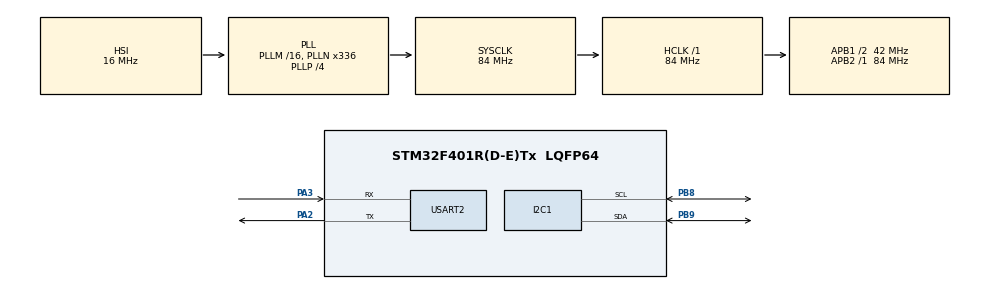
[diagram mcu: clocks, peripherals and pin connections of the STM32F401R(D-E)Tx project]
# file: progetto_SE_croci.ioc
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Mcu.Family=STM32F4
Mcu.Name=STM32F401R(D-E)Tx
Mcu.Package=LQFP64
NVIC.PriorityGroup=NVIC_PRIORITYGROUP_4
NVIC.USART2_IRQn=true\:0\:0\:false\:false\:true\:true\:true\:true
PA13.Mode=Serial_Wire
PA13.Signal=SYS_JTMS-SWDIO
PA14.Mode=Serial_Wire
PA14.Signal=SYS_JTCK-SWCLK
PA2.Mode=Asynchronous
PA2.Signal=USART2_TX
PA3.Mode=Asynchronous
PA3.Signal=USART2_RX
PB8.Mode=I2C
PB8.Signal=I2C1_SCL
PB9.Mode=I2C
PB9.Signal=I2C1_SDA
PC14-OSC32_IN.Mode=LSE-External-Oscillator
PC14-OSC32_IN.Signal=RCC_OSC32_IN
PC15-OSC32_OUT.Mode=LSE-External-Oscillator
PC15-OSC32_OUT.Signal=RCC_OSC32_OUT
PH0\ -\ OSC_IN.Mode=HSE-External-Clock-Source
PH0\ -\ OSC_IN.Signal=RCC_OSC_IN
PH1\ -\ OSC_OUT.Mode=HSE-External-Clock-Source
PH1\ -\ OSC_OUT.Signal=RCC_OSC_OUT
ProjectManager.HeapSize=0x800
ProjectManager.StackSize=0x800
ProjectManager.TargetToolchain=STM32CubeIDE
RCC.48MHZClocksFreq_Value=84000000
RCC.AHBFreq_Value=84000000
RCC.APB1CLKDivider=RCC_HCLK_DIV2
RCC.APB1Freq_Value=42000000
RCC.APB1TimFreq_Value=84000000
RCC.APB2Freq_Value=84000000
RCC.APB2TimFreq_Value=84000000
RCC.CortexFreq_Value=84000000
RCC.HCLKFreq_Value=84000000
RCC.HSE_VALUE=25000000
RCC.HSI_VALUE=16000000
RCC.PLLN=336
RCC.PLLP=RCC_PLLP_DIV4
RCC.SYSCLKFreq_VALUE=84000000
RCC.SYSCLKSource=RCC_SYSCLKSOURCE_PLLCLK
RCC.VCOOutputFreq_Value=336000000
USART2.VirtualMode=VM_ASYNC
board=custom

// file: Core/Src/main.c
/* USER CODE BEGIN Header */
/**
  ******************************************************************************
  * @file           : main.c
  * @brief          : Main program body
  ******************************************************************************
  * @attention
  *
  * Copyright (c) 2025 STMicroelectronics.
  * All rights reserved.
  *
  * This software is licensed under terms that can be found in the LICENSE file
  * in the root directory of this software component.
  * If no LICENSE file comes with this software, it is provided AS-IS.
  *
  ******************************************************************************
  */
/* USER CODE END Header */
#include "main.h"
#include "i2c.h"
#include "usart.h"
#include "gpio.h"

/* USER CODE BEGIN Includes */
#include <stdio.h>
#include <string.h>
#include "lsm6dsox_reg.h"
#include "model.h"
/* USER CODE END Includes */

/* USER CODE BEGIN PD */
#define LSM6DSOX_I2C_ADDR8    (0x6B << 1)

#define PI 	3.14159265358979323846		// Costante pi greco
#define G 	9.80665						// Accelerazione di gravità

/* USER CODE END PD */

/* USER CODE BEGIN PV */

// Output
extern uint8_t predicted_class;
extern uint8_t confidence;

// Media e deviazione standard per ogni feature
const float mean[6] = {-0.3109933f, -0.21435975f, 4.9039526f, 0.12456421f, 0.06937116f, -0.03399972f};
const float std[6]  = {84.00599f, 140.4055f, 224.9723f, 18.348589f, 17.98235f, 16.988403f};

static char tx_line[64];
static stmdev_ctx_t dev_ctx;

float input_buffer[100][6];    	// Buffer per 2s di dati
uint8_t sample_index = 0;    	// Contatore di campioni

// Funzioni platform per driver ST
static int32_t platform_write(void *handle, uint8_t reg,
                              const uint8_t *bufp, uint16_t len)
{
    return (HAL_I2C_Mem_Write((I2C_HandleTypeDef*)handle,
                              LSM6DSOX_I2C_ADDR8, reg,
                              I2C_MEMADD_SIZE_8BIT,
                              (uint8_t*)bufp, len, 1000) == HAL_OK) ? 0 : 1;
}

static int32_t platform_read(void *handle, uint8_t reg,
                             uint8_t *bufp, uint16_t len)
{
    return (HAL_I2C_Mem_Read((I2C_HandleTypeDef*)handle,
                             LSM6DSOX_I2C_ADDR8, reg,
                             I2C_MEMADD_SIZE_8BIT,
                             bufp, len, 1000) == HAL_OK) ? 0 : 1;
}

static void platform_delay(uint32_t ms) { HAL_Delay(ms); }
/* USER CODE END PV */

void SystemClock_Config(void);
/* USER CODE BEGIN PFP */

// Funzione di conversione da dps a rad/sec
float conv_dps2rad (float in_dps) {
	float out_rad = in_dps * PI / 180;
	return out_rad;
}

// Funzione di conversione da g a m/s^2
float conv_g2ms2 (float in_g) {
	float out_ms2 = in_g * G;
	return out_ms2;
}

/* USER CODE END PFP */

int main(void)
{

  /* MCU Configuration--------------------------------------------------------*/

  /* Reset of all peripherals, Initializes the Flash interface and the Systick. */
  HAL_Init();

  /* Configure the system clock */
  SystemClock_Config();

  /* Initialize all configured peripherals */
  MX_GPIO_Init();
  MX_I2C1_Init();
  MX_USART2_UART_Init();
  /* USER CODE BEGIN 2 */
  dev_ctx.write_reg = platform_write;
  dev_ctx.read_reg  = platform_read;
  dev_ctx.handle    = &hi2c1;

  platform_delay(100);

  // WHO AM I
  uint8_t who_am_i = 0;
  int32_t status = lsm6dsox_device_id_get(&dev_ctx, &who_am_i);
  snprintf(tx_line, sizeof(tx_line), "WHO_AM_I letto: 0x%02X, status: %ld\r\n", who_am_i, status);
  HAL_UART_Transmit(&huart2, (uint8_t*)tx_line, strlen(tx_line), HAL_MAX_DELAY);

  // Sensor reset
  lsm6dsox_reset_set(&dev_ctx, PROPERTY_ENABLE);
  uint8_t rst;
  do { lsm6dsox_reset_get(&dev_ctx, &rst); } while (rst);

  // Configuration
  lsm6dsox_i3c_disable_set(&dev_ctx, LSM6DSOX_I3C_DISABLE);
  lsm6dsox_block_data_update_set(&dev_ctx, PROPERTY_ENABLE);

  // ODR 52 Hz
  lsm6dsox_xl_data_rate_set(&dev_ctx, LSM6DSOX_XL_ODR_52Hz);
  lsm6dsox_gy_data_rate_set(&dev_ctx, LSM6DSOX_GY_ODR_52Hz);

  // Full scale ±8 g and ±2000 dps
  lsm6dsox_xl_full_scale_set(&dev_ctx, LSM6DSOX_8g);
  lsm6dsox_gy_full_scale_set(&dev_ctx, LSM6DSOX_2000dps);

  // Data buffers
  int16_t acc_raw[3], gyr_raw[3];
  float   acc_mg[3],  gyr_mdps[3];
  uint32_t t_prev = HAL_GetTick();

  /* USER CODE END 2 */

  /* Infinite loop */
  while (1)
  {

	      /* USER CODE BEGIN 3 */

			// Wait 20 ms for 50 Hz sampling
	  while ((HAL_GetTick() - t_prev) < 20) {}
	  t_prev = HAL_GetTick();

	  lsm6dsox_status_reg_t status;
	  lsm6dsox_status_reg_get(&dev_ctx, &status);
	  if (!(status.xlda && status.gda))
		  continue;

	  lsm6dsox_acceleration_raw_get(&dev_ctx, acc_raw);
	  lsm6dsox_angular_rate_raw_get(&dev_ctx, gyr_raw);

	  for (int i = 0; i < 3; i++) {
		  acc_mg[i] = lsm6dsox_from_fs8_to_mg(acc_raw[i]);
		  gyr_mdps[i] = lsm6dsox_from_fs2000_to_mdps(gyr_raw[i]);
	  }

	    /*
	    // Print inertial data at 50 Hz frequency
	    snprintf(tx_line, sizeof(tx_line),
	             "Acc: %.2f %.2f %.2f, Gyro: %.2f %.2f %.2f\r\n",
	             conv_g2ms2(acc_mg[0]/1000.0f), conv_g2ms2(acc_mg[1]/1000.0f), conv_g2ms2(acc_mg[2]/1000.0f),
	             conv_dps2rad(gyr_mdps[0]/1000.0f), conv_dps2rad(gyr_mdps[1]/1000.0f), conv_dps2rad(gyr_mdps[2]/1000.0f));
	    HAL_UART_Transmit(&huart2, (uint8_t*)tx_line, strlen(tx_line), HAL_MAX_DELAY);
	    */

		// Inertial data for the input buffer
	  if (sample_index < 100) {
		  input_buffer[sample_index][0] = conv_g2ms2(acc_mg[0] / 1000.0f);
		  input_buffer[sample_index][1] = conv_g2ms2(acc_mg[1] / 1000.0f);
		  input_buffer[sample_index][2] = conv_g2ms2(acc_mg[2] / 1000.0f);
		  input_buffer[sample_index][3] = conv_dps2rad(gyr_mdps[0] / 1000.0f);
		  input_buffer[sample_index][4] = conv_dps2rad(gyr_mdps[1] / 1000.0f);
		  input_buffer[sample_index][5] = conv_dps2rad(gyr_mdps[2] / 1000.0f);
		  sample_index++;
	  }

	  if (sample_index >= 100) {
		  sample_index = 0;  // Reset buffer

		  // Normalize the 100 samples
		  float normalized_buffer[100][6];
		  for (int i = 0; i < 100; i++) {
			  for (int j = 0; j < 6; j++) {
				  normalized_buffer[i][j] = (input_buffer[i][j] - mean[j]) / std[j];
			  }
		  }

		  // Inference on acquired and normalized data
		  lstm_inference(normalized_buffer);

		  // Array for class names
		  const char* class_names[] = { "Downstairs", "Running", "Standing", "Upstairs", "Walking", "Unknown" };
		  const char* current_class_name;
		  if (predicted_class < 5) {
			  current_class_name = class_names[predicted_class];
		  }
		  else {
			  current_class_name = class_names[5];
		  }

		  // Build the formatted string
		  snprintf(tx_line, sizeof(tx_line),
			  "%ACTIVITY: %s\t\tCONFIDENCE: %u%%\r\n",
			  current_class_name, confidence);
		  HAL_UART_Transmit(&huart2, (uint8_t*)tx_line, strlen(tx_line), HAL_MAX_DELAY);
	  }

  }
  /* USER CODE END 3 */
}

void SystemClock_Config(void)
{
  RCC_OscInitTypeDef RCC_OscInitStruct = {0};
  RCC_ClkInitTypeDef RCC_ClkInitStruct = {0};

  /** Configure the main internal regulator output voltage
  */
  __HAL_RCC_PWR_CLK_ENABLE();
  __HAL_PWR_VOLTAGESCALING_CONFIG(PWR_REGULATOR_VOLTAGE_SCALE2);

  /** Initializes the RCC Oscillators according to the specified parameters
  * in the RCC_OscInitTypeDef structure.
  */
  RCC_OscInitStruct.OscillatorType = RCC_OSCILLATORTYPE_HSI;
  RCC_OscInitStruct.HSIState = RCC_HSI_ON;
  RCC_OscInitStruct.HSICalibrationValue = RCC_HSICALIBRATION_DEFAULT;
  RCC_OscInitStruct.PLL.PLLState = RCC_PLL_ON;
  RCC_OscInitStruct.PLL.PLLSource = RCC_PLLSOURCE_HSI;
  RCC_OscInitStruct.PLL.PLLM = 16;
  RCC_OscInitStruct.PLL.PLLN = 336;
  RCC_OscInitStruct.PLL.PLLP = RCC_PLLP_DIV4;
  RCC_OscInitStruct.PLL.PLLQ = 4;
  if (HAL_RCC_OscConfig(&RCC_OscInitStruct) != HAL_OK)
  {
    Error_Handler();
  }

  /** Initializes the CPU, AHB and APB buses clocks
  */
  RCC_ClkInitStruct.ClockType = RCC_CLOCKTYPE_HCLK|RCC_CLOCKTYPE_SYSCLK
                              |RCC_CLOCKTYPE_PCLK1|RCC_CLOCKTYPE_PCLK2;
  RCC_ClkInitStruct.SYSCLKSource = RCC_SYSCLKSOURCE_PLLCLK;
  RCC_ClkInitStruct.AHBCLKDivider = RCC_SYSCLK_DIV1;
  RCC_ClkInitStruct.APB1CLKDivider = RCC_HCLK_DIV2;
  RCC_ClkInitStruct.APB2CLKDivider = RCC_HCLK_DIV1;

  if (HAL_RCC_ClockConfig(&RCC_ClkInitStruct, FLASH_LATENCY_2) != HAL_OK)
  {
    Error_Handler();
  }
}

void Error_Handler(void)
{
  __disable_irq();
  while (1)
  {
  }
}
